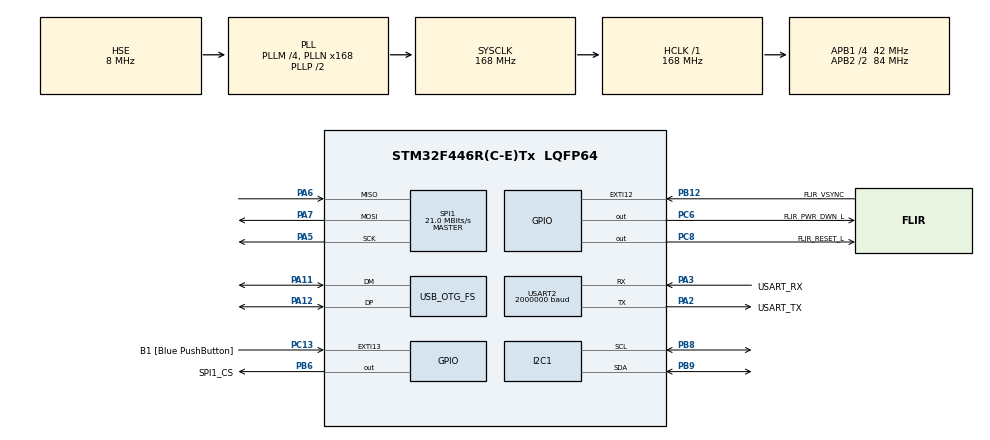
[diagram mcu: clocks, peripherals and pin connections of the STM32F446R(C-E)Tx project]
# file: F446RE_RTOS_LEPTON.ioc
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ARM.CMSIS.5.7.0.CMSISJjCORE=true
ARM.CMSIS.5.7.0.CMSISJjDSP=Library
Dma.Request0=SPI1_RX
Dma.Request1=SPI1_TX
Dma.SPI1_RX.0.Direction=DMA_PERIPH_TO_MEMORY
Dma.SPI1_RX.0.FIFOMode=DMA_FIFOMODE_ENABLE
Dma.SPI1_RX.0.FIFOThreshold=DMA_FIFO_THRESHOLD_FULL
Dma.SPI1_RX.0.Instance=DMA2_Stream0
Dma.SPI1_RX.0.MemBurst=DMA_MBURST_SINGLE
Dma.SPI1_RX.0.MemDataAlignment=DMA_MDATAALIGN_HALFWORD
Dma.SPI1_RX.0.MemInc=DMA_MINC_ENABLE
Dma.SPI1_RX.0.Mode=DMA_NORMAL
Dma.SPI1_RX.0.PeriphBurst=DMA_PBURST_SINGLE
Dma.SPI1_RX.0.PeriphDataAlignment=DMA_PDATAALIGN_HALFWORD
Dma.SPI1_RX.0.PeriphInc=DMA_PINC_DISABLE
Dma.SPI1_RX.0.Priority=DMA_PRIORITY_LOW
Dma.SPI1_TX.1.Direction=DMA_MEMORY_TO_PERIPH
Dma.SPI1_TX.1.FIFOMode=DMA_FIFOMODE_ENABLE
Dma.SPI1_TX.1.FIFOThreshold=DMA_FIFO_THRESHOLD_FULL
Dma.SPI1_TX.1.Instance=DMA2_Stream3
Dma.SPI1_TX.1.MemBurst=DMA_MBURST_SINGLE
Dma.SPI1_TX.1.MemDataAlignment=DMA_MDATAALIGN_HALFWORD
Dma.SPI1_TX.1.MemInc=DMA_MINC_ENABLE
Dma.SPI1_TX.1.Mode=DMA_NORMAL
Dma.SPI1_TX.1.PeriphBurst=DMA_PBURST_SINGLE
Dma.SPI1_TX.1.PeriphDataAlignment=DMA_PDATAALIGN_HALFWORD
Dma.SPI1_TX.1.PeriphInc=DMA_PINC_DISABLE
Dma.SPI1_TX.1.Priority=DMA_PRIORITY_LOW
FREERTOS.Tasks01=uartTx,24,128,prvPrintImageTask,Default,NULL,Dynamic,NULL,NULL;VoSPI,8,128,prvCaptureFramesTask,Default,NULL,Dynamic,NULL,NULL
FREERTOS.configENABLE_FPU=1
FREERTOS.configUSE_IDLE_HOOK=1
FREERTOS.configUSE_NEWLIB_REENTRANT=1
Mcu.Family=STM32F4
Mcu.Name=STM32F446R(C-E)Tx
Mcu.Package=LQFP64
NVIC.DMA2_Stream0_IRQn=true\:5\:0\:false\:false\:true\:true\:false\:true\:true
NVIC.DMA2_Stream3_IRQn=true\:5\:0\:false\:false\:true\:true\:false\:true\:true
NVIC.EXTI15_10_IRQn=true\:5\:0\:false\:false\:true\:true\:true\:true\:true
NVIC.OTG_FS_IRQn=true\:5\:0\:false\:false\:true\:true\:false\:true\:true
NVIC.PriorityGroup=NVIC_PRIORITYGROUP_4
NVIC.TIM1_UP_TIM10_IRQn=true\:15\:0\:false\:false\:true\:false\:false\:true\:true
NVIC.TimeBase=TIM1_UP_TIM10_IRQn
NVIC.TimeBaseIP=TIM1
NVIC.USART2_IRQn=true\:5\:0\:false\:false\:true\:true\:true\:true\:true
PA11.Mode=Device_Only
PA11.Signal=USB_OTG_FS_DM
PA12.Mode=Device_Only
PA12.Signal=USB_OTG_FS_DP
PA13.GPIO_Label=TMS
PA13.Mode=Serial_Wire
PA13.Signal=SYS_JTMS-SWDIO
PA14.GPIO_Label=TCK
PA14.Mode=Serial_Wire
PA14.Signal=SYS_JTCK-SWCLK
PA2.GPIO_Label=USART_TX
PA2.Mode=Asynchronous
PA2.Signal=USART2_TX
PA3.GPIO_Label=USART_RX
PA3.Mode=Asynchronous
PA3.Signal=USART2_RX
PA5.Mode=Full_Duplex_Master
PA5.Signal=SPI1_SCK
PA6.Mode=Full_Duplex_Master
PA6.Signal=SPI1_MISO
PA7.Mode=Full_Duplex_Master
PA7.Signal=SPI1_MOSI
PB12.GPIO_Label=FLIR_VSYNC
PB12.Signal=GPXTI12
PB6.GPIO_Label=SPI1_CS 
PB6.PinState=GPIO_PIN_SET
PB6.Signal=GPIO_Output
PB8.Mode=I2C
PB8.Signal=I2C1_SCL
PB9.Mode=I2C
PB9.Signal=I2C1_SDA
PC13.GPIO_Label=B1 [Blue PushButton]
PC13.GPIO_ModeDefaultEXTI=GPIO_MODE_IT_FALLING
PC13.Signal=GPXTI13
PC14-OSC32_IN.Mode=LSE-External-Oscillator
PC14-OSC32_IN.Signal=RCC_OSC32_IN
PC15-OSC32_OUT.Mode=LSE-External-Oscillator
PC15-OSC32_OUT.Signal=RCC_OSC32_OUT
PC6.GPIO_Label=FLIR_PWR_DWN_L 
PC6.Signal=GPIO_Output
PC8.GPIO_Label=FLIR_RESET_L 
PC8.Signal=GPIO_Output
PH0-OSC_IN.Mode=HSE-External-Oscillator
PH0-OSC_IN.Signal=RCC_OSC_IN
PH1-OSC_OUT.Mode=HSE-External-Oscillator
PH1-OSC_OUT.Signal=RCC_OSC_OUT
ProjectManager.HeapSize=0x1000
ProjectManager.StackSize=0x400
ProjectManager.TargetToolchain=STM32CubeIDE
RCC.48MHZClocksFreq_Value=84000000
RCC.AHBFreq_Value=168000000
RCC.APB1CLKDivider=RCC_HCLK_DIV4
RCC.APB1Freq_Value=42000000
RCC.APB1TimFreq_Value=84000000
RCC.APB2CLKDivider=RCC_HCLK_DIV2
RCC.APB2Freq_Value=84000000
RCC.APB2TimFreq_Value=168000000
RCC.CortexFreq_Value=168000000
RCC.FLatency-AdvancedSettings=FLASH_LATENCY_5
RCC.HCLKFreq_Value=168000000
RCC.HSE_Timout=3000
RCC.HSE_VALUE=8000000
RCC.HSI_VALUE=16000000
RCC.PLLM=4
RCC.PLLN=168
RCC.PLLQ=7
RCC.SYSCLKFreq_VALUE=168000000
RCC.SYSCLKSource=RCC_SYSCLKSOURCE_PLLCLK
RCC.USBFreq_Value=48000000
RCC.VCOOutputFreq_Value=336000000
SPI1.BaudRatePrescaler=SPI_BAUDRATEPRESCALER_4
SPI1.CLKPhase=SPI_PHASE_2EDGE
SPI1.CLKPolarity=SPI_POLARITY_HIGH
SPI1.CalculateBaudRate=21.0 MBits/s
SPI1.DataSize=SPI_DATASIZE_16BIT
SPI1.Direction=SPI_DIRECTION_2LINES
SPI1.Mode=SPI_MODE_MASTER
SPI1.VirtualType=VM_MASTER
USART2.BaudRate=2000000
USART2.Mode=MODE_TX_RX
USART2.OverSampling=UART_OVERSAMPLING_8
USART2.VirtualMode=VM_ASYNC
USB_DEVICE.CLASS_NAME_FS=CDC
USB_DEVICE.MANUFACTURER_STRING-CDC_FS=ST
USB_DEVICE.PID_CDC_FS=22341
USB_DEVICE.PRODUCT_STRING_CDC_FS=DTE Thermal Camera
USB_DEVICE.VirtualMode-CDC_FS=Cdc
USB_DEVICE.VirtualModeFS=Cdc_FS
USB_OTG_FS.VirtualMode=Device_Only
VP_ARM.CMSIS_VS_CMSISJjCORE_5.4.0_5.7.0.Mode=CMSISJjCORE
VP_ARM.CMSIS_VS_CMSISJjDSP_1.8.0_5.7.0.Mode=CMSISJjDSP
VP_FREERTOS_VS_CMSIS_V2.Mode=CMSIS_V2
VP_SYS_VS_tim1.Mode=TIM1
VP_USB_DEVICE_VS_USB_DEVICE_CDC_FS.Mode=CDC_FS
board=NUCLEO-F446RE

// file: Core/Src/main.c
/* USER CODE BEGIN Header */
/**
  ******************************************************************************
  * @file           : main.c
  * @brief          : Main program body
  ******************************************************************************
  * @attention
  *
  * Copyright (c) 2022 STMicroelectronics.
  * All rights reserved.
  *
  * This software is licensed under terms that can be found in the LICENSE file
  * in the root directory of this software component.
  * If no LICENSE file comes with this software, it is provided AS-IS.
  *
  ******************************************************************************
  */
/*! \mainpage RTOS LEPTON Software Library
 *
 * \section intro_sec Introduction
 *
 * This is the introduction.
 *
 * \section install_sec Using the Library
 *
 * \subsection step1 Step 1: Opening the box
 *
 * etc...
 */
/* USER CODE END Header */
#include "main.h"
#include "cmsis_os.h"

/* USER CODE BEGIN Includes */
#include "lepton.h"
#include "arm_math.h"
#include <stdbool.h>
#include <string.h>
#include "SEGGER_SYSVIEW.h"
#include "portable.h"
#include "usb_device.h"
#include "usbd_cdc_if.h"

/**
  @defgroup Main Main Program

 */

/**
  @addtogroup Main
  @{
 */

/* USER CODE END Includes */

/* USER CODE BEGIN PD */
#define MEMPOOL_OBJECTS (4)
#define FRAME_SIZE_U8	(9840)
#define FRAME_SIZE_3_5_U8	(9840)
#define MEMPOOL_SIZE	(39360)
/* USER CODE END PD */

/* USER CODE BEGIN PM */
#ifndef DOXYGEN_SHOULD_SKIP_THIS
/* USER CODE END PM */

I2C_HandleTypeDef hi2c1;

SPI_HandleTypeDef hspi1;
DMA_HandleTypeDef hdma_spi1_rx;
DMA_HandleTypeDef hdma_spi1_tx;

UART_HandleTypeDef huart2;

/* Definitions for uartTx */
osThreadId_t uartTxHandle;
const osThreadAttr_t uartTx_attributes = {
  .name = "uartTx",
  .stack_size = 128 * 4,
  .priority = (osPriority_t) osPriorityNormal,
};
/* Definitions for VoSPI */
osThreadId_t VoSPIHandle;
const osThreadAttr_t VoSPI_attributes = {
  .name = "VoSPI",
  .stack_size = 128 * 4,
  .priority = (osPriority_t) osPriorityLow,
};
/* USER CODE BEGIN PV */

#endif /* DOXYGEN_SHOULD_SKIP_THIS */

lepton_frame MemoryBlock[MEMPOOL_OBJECTS]; ///< Static memory allocation for memory pool

static uint8_t lost_frame = 0;

extern USBD_HandleTypeDef hUsbDeviceFS;

/* Definitions for FramePool */

osMemoryPoolId_t FramePoolHandle;
const osMemoryPoolAttr_t FramePool_attributes = {
  .name = "FramePool",
  .mp_mem = MemoryBlock,
  .mp_size = MEMPOOL_SIZE
};

lepton_frame *current_frame;
lepton_frame *complete_frame;

static uint16_t frame_packet[(FRAME_HEIGHT*FRAME_WIDTH) + 2] = {0xDEAD, 0xBEEF};

#ifndef DOXYGEN_SHOULD_SKIP_THIS
/* USER CODE END PV */

void SystemClock_Config(void);
static void MX_GPIO_Init(void);
static void MX_DMA_Init(void);
static void MX_USART2_UART_Init(void);
static void MX_I2C1_Init(void);
static void MX_SPI1_Init(void);
void prvPrintImageTask(void *argument);
void prvCaptureFramesTask(void *argument);

int main(void)
{

  /* MCU Configuration--------------------------------------------------------*/

  /* Reset of all peripherals, Initializes the Flash interface and the Systick. */
  HAL_Init();

  /* Configure the system clock */
  SystemClock_Config();

  /* Initialize all configured peripherals */
  MX_GPIO_Init();
  MX_DMA_Init();
  MX_USART2_UART_Init();
  MX_I2C1_Init();
  MX_SPI1_Init();
  /* USER CODE BEGIN 2 */
  MX_USB_DEVICE_Init();

  SEGGER_SYSVIEW_Conf();					/* Configure and initialize SystemView */
  vSetVarulMaxPRIGROUPValue();
  SEGGER_SYSVIEW_Start();

  lepton_Init(&hi2c1, &hspi1, &huart2, SPI1_CS_GPIO_Port, SPI1_CS_Pin);

  /* USER CODE END 2 */

  /* Init scheduler */
  osKernelInitialize();

  /* USER CODE BEGIN RTOS_MUTEX */
  FramePoolHandle = osMemoryPoolNew(MEMPOOL_OBJECTS, FRAME_SIZE_U8, &FramePool_attributes);
  /* add mutexes, ... */
  /* USER CODE END RTOS_MUTEX */

  /* Create the thread(s) */
  /* creation of uartTx */
  uartTxHandle = osThreadNew(prvPrintImageTask, NULL, &uartTx_attributes);

  /* creation of VoSPI */
  VoSPIHandle = osThreadNew(prvCaptureFramesTask, NULL, &VoSPI_attributes);

  /* Start scheduler */
  osKernelStart();

  /* We should never get here as control is now taken by the scheduler */
  /* Infinite loop */
  while (1)
  {

  }
}

void SystemClock_Config(void)
{
  RCC_OscInitTypeDef RCC_OscInitStruct = {0};
  RCC_ClkInitTypeDef RCC_ClkInitStruct = {0};

  /** Configure the main internal regulator output voltage
  */
  __HAL_RCC_PWR_CLK_ENABLE();
  __HAL_PWR_VOLTAGESCALING_CONFIG(PWR_REGULATOR_VOLTAGE_SCALE1);

  /** Initializes the RCC Oscillators according to the specified parameters
  * in the RCC_OscInitTypeDef structure.
  */
  RCC_OscInitStruct.OscillatorType = RCC_OSCILLATORTYPE_HSE;
  RCC_OscInitStruct.HSEState = RCC_HSE_ON;
  RCC_OscInitStruct.PLL.PLLState = RCC_PLL_ON;
  RCC_OscInitStruct.PLL.PLLSource = RCC_PLLSOURCE_HSE;
  RCC_OscInitStruct.PLL.PLLM = 4;
  RCC_OscInitStruct.PLL.PLLN = 168;
  RCC_OscInitStruct.PLL.PLLP = RCC_PLLP_DIV2;
  RCC_OscInitStruct.PLL.PLLQ = 7;
  RCC_OscInitStruct.PLL.PLLR = 2;
  if (HAL_RCC_OscConfig(&RCC_OscInitStruct) != HAL_OK)
  {
    Error_Handler();
  }

  /** Initializes the CPU, AHB and APB buses clocks
  */
  RCC_ClkInitStruct.ClockType = RCC_CLOCKTYPE_HCLK|RCC_CLOCKTYPE_SYSCLK
                              |RCC_CLOCKTYPE_PCLK1|RCC_CLOCKTYPE_PCLK2;
  RCC_ClkInitStruct.SYSCLKSource = RCC_SYSCLKSOURCE_PLLCLK;
  RCC_ClkInitStruct.AHBCLKDivider = RCC_SYSCLK_DIV1;
  RCC_ClkInitStruct.APB1CLKDivider = RCC_HCLK_DIV4;
  RCC_ClkInitStruct.APB2CLKDivider = RCC_HCLK_DIV2;

  if (HAL_RCC_ClockConfig(&RCC_ClkInitStruct, FLASH_LATENCY_5) != HAL_OK)
  {
    Error_Handler();
  }
}

static void MX_I2C1_Init(void)
{

  hi2c1.Instance = I2C1;
  hi2c1.Init.ClockSpeed = 100000;
  hi2c1.Init.DutyCycle = I2C_DUTYCYCLE_2;
  hi2c1.Init.OwnAddress1 = 0;
  hi2c1.Init.AddressingMode = I2C_ADDRESSINGMODE_7BIT;
  hi2c1.Init.DualAddressMode = I2C_DUALADDRESS_DISABLE;
  hi2c1.Init.OwnAddress2 = 0;
  hi2c1.Init.GeneralCallMode = I2C_GENERALCALL_DISABLE;
  hi2c1.Init.NoStretchMode = I2C_NOSTRETCH_DISABLE;
  if (HAL_I2C_Init(&hi2c1) != HAL_OK)
  {
    Error_Handler();
  }

}

static void MX_SPI1_Init(void)
{

  /* SPI1 parameter configuration*/
  hspi1.Instance = SPI1;
  hspi1.Init.Mode = SPI_MODE_MASTER;
  hspi1.Init.Direction = SPI_DIRECTION_2LINES;
  hspi1.Init.DataSize = SPI_DATASIZE_16BIT;
  hspi1.Init.CLKPolarity = SPI_POLARITY_HIGH;
  hspi1.Init.CLKPhase = SPI_PHASE_2EDGE;
  hspi1.Init.NSS = SPI_NSS_SOFT;
  hspi1.Init.BaudRatePrescaler = SPI_BAUDRATEPRESCALER_4;
  hspi1.Init.FirstBit = SPI_FIRSTBIT_MSB;
  hspi1.Init.TIMode = SPI_TIMODE_DISABLE;
  hspi1.Init.CRCCalculation = SPI_CRCCALCULATION_DISABLE;
  hspi1.Init.CRCPolynomial = 10;
  if (HAL_SPI_Init(&hspi1) != HAL_OK)
  {
    Error_Handler();
  }

}

static void MX_USART2_UART_Init(void)
{

  huart2.Instance = USART2;
  huart2.Init.BaudRate = 2000000;
  huart2.Init.WordLength = UART_WORDLENGTH_8B;
  huart2.Init.StopBits = UART_STOPBITS_1;
  huart2.Init.Parity = UART_PARITY_NONE;
  huart2.Init.Mode = UART_MODE_TX_RX;
  huart2.Init.HwFlowCtl = UART_HWCONTROL_NONE;
  huart2.Init.OverSampling = UART_OVERSAMPLING_8;
  if (HAL_UART_Init(&huart2) != HAL_OK)
  {
    Error_Handler();
  }

}

static void MX_DMA_Init(void)
{

  /* DMA controller clock enable */
  __HAL_RCC_DMA2_CLK_ENABLE();

  /* DMA interrupt init */
  /* DMA2_Stream0_IRQn interrupt configuration */
  HAL_NVIC_SetPriority(DMA2_Stream0_IRQn, 5, 0);
  HAL_NVIC_EnableIRQ(DMA2_Stream0_IRQn);
  /* DMA2_Stream3_IRQn interrupt configuration */
  HAL_NVIC_SetPriority(DMA2_Stream3_IRQn, 5, 0);
  HAL_NVIC_EnableIRQ(DMA2_Stream3_IRQn);

}

static void MX_GPIO_Init(void)
{
  GPIO_InitTypeDef GPIO_InitStruct = {0};

  /* GPIO Ports Clock Enable */
  __HAL_RCC_GPIOC_CLK_ENABLE();
  __HAL_RCC_GPIOH_CLK_ENABLE();
  __HAL_RCC_GPIOA_CLK_ENABLE();
  __HAL_RCC_GPIOB_CLK_ENABLE();

  /*Configure GPIO pin Output Level */
  HAL_GPIO_WritePin(GPIOC, FLIR_PWR_DWN_L_Pin|FLIR_RESET_L_Pin, GPIO_PIN_RESET);

  /*Configure GPIO pin Output Level */
  HAL_GPIO_WritePin(SPI1_CS_GPIO_Port, SPI1_CS_Pin, GPIO_PIN_SET);

  /*Configure GPIO pin : B1_Pin */
  GPIO_InitStruct.Pin = B1_Pin;
  GPIO_InitStruct.Mode = GPIO_MODE_IT_FALLING;
  GPIO_InitStruct.Pull = GPIO_NOPULL;
  HAL_GPIO_Init(B1_GPIO_Port, &GPIO_InitStruct);

  /*Configure GPIO pin : FLIR_VSYNC_Pin */
  GPIO_InitStruct.Pin = FLIR_VSYNC_Pin;
  GPIO_InitStruct.Mode = GPIO_MODE_IT_RISING;
  GPIO_InitStruct.Pull = GPIO_NOPULL;
  HAL_GPIO_Init(FLIR_VSYNC_GPIO_Port, &GPIO_InitStruct);

  /*Configure GPIO pins : FLIR_PWR_DWN_L_Pin FLIR_RESET_L_Pin */
  GPIO_InitStruct.Pin = FLIR_PWR_DWN_L_Pin|FLIR_RESET_L_Pin;
  GPIO_InitStruct.Mode = GPIO_MODE_OUTPUT_PP;
  GPIO_InitStruct.Pull = GPIO_NOPULL;
  GPIO_InitStruct.Speed = GPIO_SPEED_FREQ_LOW;
  HAL_GPIO_Init(GPIOC, &GPIO_InitStruct);

  /*Configure GPIO pin : SPI1_CS_Pin */
  GPIO_InitStruct.Pin = SPI1_CS_Pin;
  GPIO_InitStruct.Mode = GPIO_MODE_OUTPUT_PP;
  GPIO_InitStruct.Pull = GPIO_NOPULL;
  GPIO_InitStruct.Speed = GPIO_SPEED_FREQ_LOW;
  HAL_GPIO_Init(SPI1_CS_GPIO_Port, &GPIO_InitStruct);

  /* EXTI interrupt init*/
  HAL_NVIC_SetPriority(EXTI15_10_IRQn, 5, 0);
  HAL_NVIC_EnableIRQ(EXTI15_10_IRQn);

}

/* USER CODE BEGIN 4 */
#endif /* DOXYGEN_SHOULD_SKIP_THIS */

/**
 * @fn void HAL_GPIO_EXTI_Callback(uint16_t)
 * @brief
 * This function is a callback routine called when an external
 * interrupt is generated by a specified GPIO pin.
 *
 * @param GPIO_Pin Specifies the pin number for the interrupt line.
 * The function checks if the interrupt was generated by the specified
 * FLIR_VSYNC_Pin and if so, allocates memory from the FramePoolHandle
 * memory pool. If memory allocation is successful, it starts a DMA
 * transfer to receive data from the hspi1 peripheral and disables the
 * EXTI15_10_IRQn interrupt.
 */
void HAL_GPIO_EXTI_Callback(uint16_t GPIO_Pin)
{
	SEGGER_SYSVIEW_RecordEnterISR();
	if (GPIO_Pin == FLIR_VSYNC_Pin)
	{
		current_frame = (lepton_frame *)osMemoryPoolAlloc(FramePoolHandle, 0U);
		if(current_frame != NULL)
		{
			osThreadFlagsSet(VoSPIHandle, 0x1U);
			HAL_NVIC_DisableIRQ(EXTI15_10_IRQn);
		}
	}
	SEGGER_SYSVIEW_RecordExitISR();
}
/**
 * @fn void HAL_SPI_RxCpltCallback(SPI_HandleTypeDef*)
 * @brief
 *
 * @param hspi
 */
void HAL_SPI_RxCpltCallback(SPI_HandleTypeDef *hspi)
{
	SEGGER_SYSVIEW_RecordEnterISR();
	osThreadFlagsSet(VoSPIHandle, 0x2U);
	SEGGER_SYSVIEW_RecordExitISR();
}
/* USER CODE END 4 */

void prvPrintImageTask(void *argument)
{
  /* USER CODE BEGIN 5 */

	/* Infinite loop */
	for(;;)
	{
		/* Wait for completed frame */
		osThreadFlagsWait(0x1U, osFlagsWaitAny, osWaitForever);

		for(int i = 0; i < 60; i++)
		{
			memcpy((void *)&frame_packet[2 + (i*80)], (void *)complete_frame->y16[i].data, 160);
		}

		osMemoryPoolFree(FramePoolHandle, complete_frame);
		complete_frame = NULL;

		/* Transmit frame */
		if (hUsbDeviceFS.dev_state == USBD_STATE_CONFIGURED)
		{
			CDC_Transmit_FS((uint8_t *)frame_packet, (FRAME_SIZE_U8 + 4));
		}

		__HAL_GPIO_EXTI_CLEAR_IT(EXTI15_10_IRQn);
		HAL_NVIC_EnableIRQ(EXTI15_10_IRQn);

	}
  /* USER CODE END 5 */
}

void prvCaptureFramesTask(void *argument)
{
  /* USER CODE BEGIN prvCaptureFramesTask */

	HAL_Delay(100);
	HAL_GPIO_WritePin(FLIR_PWR_DWN_L_GPIO_Port, FLIR_PWR_DWN_L_Pin, GPIO_PIN_SET);
	HAL_Delay(100);
	HAL_GPIO_WritePin(FLIR_RESET_L_GPIO_Port, FLIR_RESET_L_Pin, GPIO_PIN_SET);
	HAL_Delay(5000);

	lepton_vsync(true);

	HAL_GPIO_WritePin(SPI1_CS_GPIO_Port, SPI1_CS_Pin, GPIO_PIN_RESET);

	/* Infinite loop */
	for(;;)
	{
		osThreadFlagsWait(0x1U, osFlagsWaitAny, osWaitForever);

		HAL_SPI_Receive_DMA(&hspi1, (uint8_t *)current_frame, FRAME_SIZE_U8);

		osThreadFlagsWait(0x2U, osFlagsWaitAny, osWaitForever);

		if((current_frame->y16[59].header[0] & 0xff) == (FRAME_HEIGHT - 1))
		{
			complete_frame = current_frame;
			current_frame = NULL;

			lost_frame = 0;

			osThreadFlagsSet(uartTxHandle, 0x1U);

		}
		else
		{
			lost_frame++;

			if(lost_frame > 9)
			{
				// Synchronization Lost
				osDelay(185);

//				do
//				{
//					HAL_SPI_Receive_DMA(&hspi1, (uint8_t *)current_frame, 1);
//					osThreadFlagsWait(0x2U, osFlagsWaitAny, osWaitForever);
//
//				} while((current_frame->y16[0].header[0] & 0xf00) == 0xf00);

				HAL_SPI_Receive_DMA(&hspi1, (uint8_t *)current_frame , FRAME_SIZE_U8);

				osThreadFlagsWait(0x2U, osFlagsWaitAny, osWaitForever);

				complete_frame = current_frame;
				current_frame = NULL;

				lost_frame = 0;

				osThreadFlagsSet(uartTxHandle, 0x1U);
			}
			else
			{
				osMemoryPoolFree(FramePoolHandle, current_frame);
				current_frame = NULL;

				__HAL_GPIO_EXTI_CLEAR_IT(EXTI15_10_IRQn);
				HAL_NVIC_EnableIRQ(EXTI15_10_IRQn);
			}
		}
	}
  /* USER CODE END prvCaptureFramesTask */
}

void HAL_TIM_PeriodElapsedCallback(TIM_HandleTypeDef *htim)
{
  if (htim->Instance == TIM1) {
    HAL_IncTick();
  }
}

void Error_Handler(void)
{
  __disable_irq();
  while (1)
  {
  }
}

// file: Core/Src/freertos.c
/* USER CODE BEGIN Header */
/**
  ******************************************************************************
  * File Name          : freertos.c
  * Description        : Code for freertos applications
  ******************************************************************************
  * @attention
  *
  * Copyright (c) 2023 STMicroelectronics.
  * All rights reserved.
  *
  * This software is licensed under terms that can be found in the LICENSE file
  * in the root directory of this software component.
  * If no LICENSE file comes with this software, it is provided AS-IS.
  *
  ******************************************************************************
  */
/* USER CODE END Header */

#include "FreeRTOS.h"
#include "task.h"
#include "main.h"

/* Hook prototypes */
void vApplicationIdleHook(void);

/* USER CODE BEGIN 2 */
void vApplicationIdleHook( void )
{
   /* vApplicationIdleHook() will only be called if configUSE_IDLE_HOOK is set
   to 1 in FreeRTOSConfig.h. It will be called on each iteration of the idle
   task. It is essential that code added to this hook function never attempts
   to block in any way (for example, call xQueueReceive() with a block time
   specified, or call vTaskDelay()). If the application makes use of the
   vTaskDelete() API function (as this demo application does) then it is also
   important that vApplicationIdleHook() is permitted to return to its calling
   function, because it is the responsibility of the idle task to clean up
   memory allocated by the kernel to any task that has since been deleted. */
	__WFI();
}
/* USER CODE END 2 */
